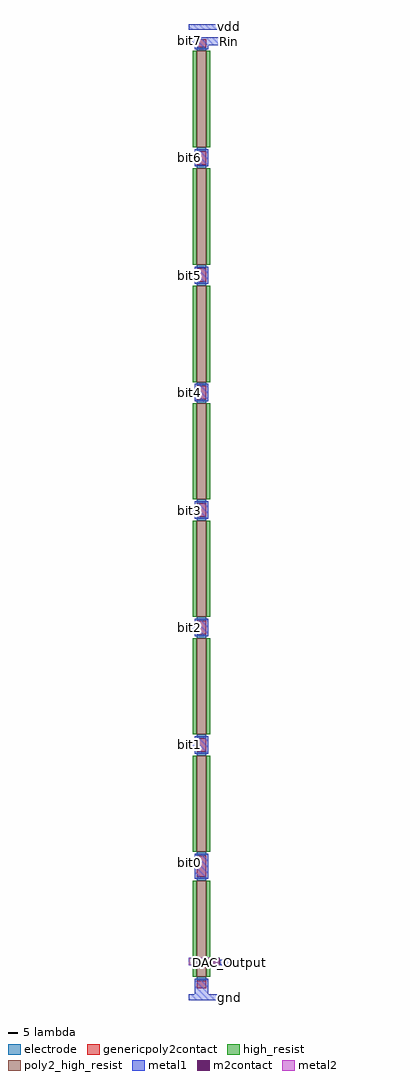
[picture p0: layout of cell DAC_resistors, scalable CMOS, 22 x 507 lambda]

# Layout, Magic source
magic
tech scmos
<< electrode >>
rect 159 486 164 488
rect 159 434 164 436
rect 159 425 164 427
rect 159 373 164 375
rect 159 364 164 366
rect 159 312 164 314
rect 159 303 164 305
rect 159 251 164 253
rect 159 242 164 244
rect 159 190 164 192
rect 159 181 164 183
rect 159 129 164 131
rect 159 120 164 122
rect 159 68 164 70
rect 159 55 164 57
rect 159 3 164 5
<< genericpoly2contact >>
rect 159 488 164 492
rect 159 427 164 434
rect 159 366 164 373
rect 159 305 164 312
rect 159 244 164 251
rect 159 183 164 190
rect 159 122 164 129
rect 159 57 164 68
rect 159 -1 164 3
<< metal1 >>
rect 155 497 177 500
rect 155 490 177 493
rect 158 489 177 490
rect 158 487 165 489
rect 158 432 165 435
rect 155 429 165 432
rect 158 426 165 429
rect 158 371 165 374
rect 155 368 165 371
rect 158 365 165 368
rect 158 310 165 313
rect 155 307 165 310
rect 158 304 165 307
rect 158 249 165 252
rect 155 246 165 249
rect 158 243 165 246
rect 158 188 165 191
rect 155 185 165 188
rect 158 182 165 185
rect 158 127 165 130
rect 155 124 165 127
rect 158 121 165 124
rect 158 66 165 69
rect 155 63 165 66
rect 158 56 165 63
rect 171 11 177 14
rect 158 -4 165 4
rect 155 -7 177 -4
<< m2contact >>
rect 167 11 171 15
<< metal2 >>
rect 155 11 167 15
<< high_resist >>
rect 157 436 159 486
rect 164 436 166 486
rect 157 375 159 425
rect 164 375 166 425
rect 157 314 159 364
rect 164 314 166 364
rect 157 253 159 303
rect 164 253 166 303
rect 157 192 159 242
rect 164 192 166 242
rect 157 131 159 181
rect 164 131 166 181
rect 157 70 159 120
rect 164 70 166 120
rect 157 5 159 55
rect 164 5 166 55
<< poly2_high_resist >>
rect 159 436 164 486
rect 159 375 164 425
rect 159 314 164 364
rect 159 253 164 303
rect 159 192 164 242
rect 159 131 164 181
rect 159 70 164 120
rect 159 5 164 55
<< labels >>
rlabel metal1 175 11 177 14 7 DAC_Output
rlabel metal1 175 -7 177 -4 8 gnd
rlabel metal1 175 497 177 500 6 vdd
rlabel metal1 175 489 177 493 7 Rin
rlabel metal1 155 429 156 432 3 bit6
rlabel metal1 155 368 156 371 3 bit5
rlabel metal1 155 307 156 310 3 bit4
rlabel metal1 155 246 156 249 3 bit3
rlabel metal1 155 185 156 188 3 bit2
rlabel metal1 155 124 156 127 3 bit1
rlabel metal1 155 63 156 66 3 bit0
rlabel metal1 155 490 156 493 3 bit7
<< end >>
